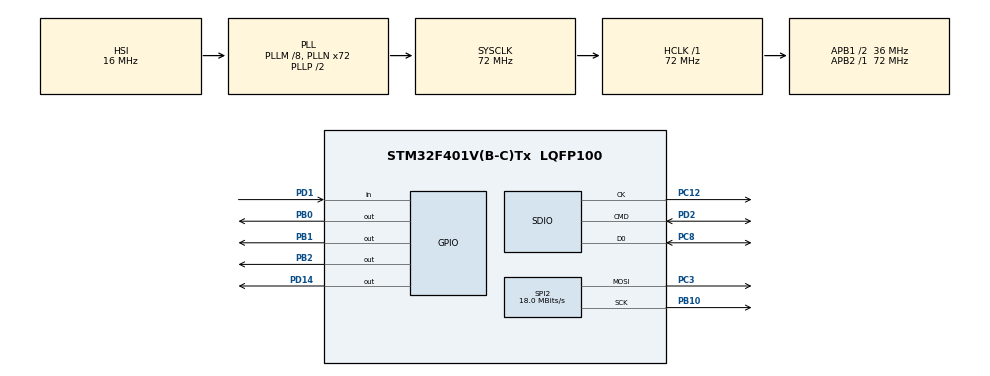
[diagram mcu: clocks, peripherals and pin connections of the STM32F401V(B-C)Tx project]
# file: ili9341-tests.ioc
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FATFS.BSP.number=1
FATFS._USE_MKFS=0
FATFS0.BSP.STBoard=false
FATFS0.BSP.api=Unknown
FATFS0.BSP.instance=PD1
FATFS0.BSP.ip=GPIO
FATFS0.BSP.mode=Input
FATFS0.BSP.name=Detect_SDIO
FATFS0.BSP.solution=PD1
Mcu.Family=STM32F4
Mcu.Name=STM32F401V(B-C)Tx
Mcu.Package=LQFP100
NVIC.PriorityGroup=NVIC_PRIORITYGROUP_4
PB0.Signal=GPIO_Output
PB1.Signal=GPIO_Output
PB10.Mode=TX_Only_Simplex_Unidirect_Master
PB10.Signal=SPI2_SCK
PB2.Signal=GPIO_Output
PC12.GPIO_PuPd=GPIO_NOPULL
PC12.Mode=SD_1_bit
PC12.Signal=SDIO_CK
PC3.Mode=TX_Only_Simplex_Unidirect_Master
PC3.Signal=SPI2_MOSI
PC8.GPIO_PuPd=GPIO_PULLUP
PC8.Mode=SD_1_bit
PC8.Signal=SDIO_D0
PD1.Signal=GPIO_Input
PD14.Signal=GPIO_Output
PD2.GPIO_PuPd=GPIO_PULLUP
PD2.Mode=SD_1_bit
PD2.Signal=SDIO_CMD
ProjectManager.HeapSize=0x200
ProjectManager.StackSize=0x400
ProjectManager.TargetToolchain=Makefile
RCC.48MHZClocksFreq_Value=48000000
RCC.AHBFreq_Value=72000000
RCC.APB1CLKDivider=RCC_HCLK_DIV2
RCC.APB1Freq_Value=36000000
RCC.APB1TimFreq_Value=72000000
RCC.APB2Freq_Value=72000000
RCC.APB2TimFreq_Value=72000000
RCC.CortexFreq_Value=72000000
RCC.HCLKFreq_Value=72000000
RCC.HSE_VALUE=25000000
RCC.HSI_VALUE=16000000
RCC.LSE_VALUE=32768
RCC.PLLM=8
RCC.PLLN=72
RCC.PLLQ=3
RCC.SYSCLKFreq_VALUE=72000000
RCC.SYSCLKSource=RCC_SYSCLKSOURCE_PLLCLK
RCC.VCOOutputFreq_Value=144000000
SPI2.BaudRatePrescaler=SPI_BAUDRATEPRESCALER_2
SPI2.CalculateBaudRate=18.0 MBits/s
SPI2.Direction=SPI_DIRECTION_2LINES
SPI2.Mode=SPI_MODE_MASTER
SPI2.VirtualType=VM_MASTER
VP_FATFS_VS_SDIO.Mode=SDIO
board=custom

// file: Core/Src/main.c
/* USER CODE BEGIN Header */
/**
  ******************************************************************************
  * @file           : main.c
  * @brief          : Main program body
  ******************************************************************************
  * @attention
  *
  * Copyright (c) 2025 STMicroelectronics.
  * All rights reserved.
  *
  * This software is licensed under terms that can be found in the LICENSE file
  * in the root directory of this software component.
  * If no LICENSE file comes with this software, it is provided AS-IS.
  *
  ******************************************************************************
  */
/* USER CODE END Header */
#include "main.h"
#include "fatfs.h"

/* USER CODE BEGIN Includes */
#include "ILI9341_STM32_Driver.h"
#include "ILI9341_GFX.h"
#include "snow_tiger.h"
#include "string.h"
#include <stdio.h>

/* USER CODE END Includes */

SD_HandleTypeDef hsd;
unsigned int sd_error = 0;
SPI_HandleTypeDef hspi2;

void SystemClock_Config(void);
static void MX_GPIO_Init(void);
static void MX_SDIO_SD_Init(void);
static void MX_SPI2_Init(void);

int main(void)
{

  /* MCU Configuration--------------------------------------------------------*/

  /* Reset of all peripherals, Initializes the Flash interface and the Systick. */
  HAL_Init();

  /* Configure the system clock */
  SystemClock_Config();

  /* Initialize all configured peripherals */
  MX_GPIO_Init();
  MX_SDIO_SD_Init();
  MX_SPI2_Init();
  MX_FATFS_Init();
  /* USER CODE BEGIN 2 */
  HAL_GPIO_TogglePin(GPIOD, GPIO_PIN_14);
  //HAL_GPIO_WritePin(GPIOD, GPIO_PIN_14, GPIO_PIN_RESET);
  ILI9341_Init();
  FATFS fs;
  FRESULT res;
  res = f_mount(&fs, SDPath, 1);
  if (res != FR_OK) {
      sd_error = 1;
  }
  DIR dir;
  FILINFO fno;

  ILI9341_Fill_Screen(BLACK);
  /* USER CODE END 2 */

  /* Infinite loop */
  /* USER CODE BEGIN WHILE */
  while (1)
  {
    HAL_GPIO_TogglePin(GPIOD, GPIO_PIN_14);
    char buff[64] = {0};
    ILI9341_Draw_Text("SD INFO: ", 0, 0, WHITE, 2, BLACK);
    if (sd_error == 0) {
        snprintf(buff, 64, "BS:%lu", hsd.SdCard.BlockSize);
        ILI9341_Draw_Text(buff, 0, 15, WHITE, 2, BLACK);
        snprintf(buff, 64, "Bnbr:%lu", hsd.SdCard.BlockNbr);
        ILI9341_Draw_Text(buff, 0, 30, WHITE, 2, BLACK);
        snprintf(buff, 64, "CS:%lu", hsd.SdCard.BlockSize * hsd.SdCard.BlockNbr / 1000);
        ILI9341_Draw_Text(buff, 0, 45, WHITE, 2, BLACK);
        snprintf(buff, 64, "VER:%lu", hsd.SdCard.CardVersion);
        ILI9341_Draw_Text(buff, 0, 60, WHITE, 2, BLACK);
        unsigned int delta = 0;
        f_opendir(&dir, "/");
        do {
            f_readdir(&dir, &fno);
            if (fno.fname[0] != 0) {
                snprintf(buff, 64, "%d: %s", delta+1, fno.fname);
                ILI9341_Draw_Text(buff, 10, 75+(delta*15), WHITE, 2, BLACK);
                delta++;
            }
        } while (fno.fname[0] != 0);
        f_closedir(&dir);
    } else {
        ILI9341_Draw_Text("SD CARD ERROR", 0, 15, WHITE, 2, BLACK);
        snprintf(buff, 64, "ERR:%lu", hsd.ErrorCode);
        ILI9341_Draw_Text(buff, 10, 30, WHITE, 2, BLACK);
    }
    HAL_GPIO_TogglePin(GPIOD, GPIO_PIN_14);
    HAL_Delay(4000);
    //ILI9341_Draw_Image(snow_tiger, 2);
    HAL_GPIO_TogglePin(GPIOD, GPIO_PIN_14);
    HAL_Delay(4000);
    uint32_t tickstart = HAL_GetTick();
    ILI9341_Fill_Screen(BLUE);
    ILI9341_Fill_Screen(GREEN);
    ILI9341_Fill_Screen(PINK);
    ILI9341_Fill_Screen(OLIVE);
    ILI9341_Fill_Screen(NAVY);
    ILI9341_Fill_Screen(PURPLE);
    ILI9341_Fill_Screen(MAROON);
    ILI9341_Fill_Screen(LIGHTGREY);
    ILI9341_Fill_Screen(CYAN);
    ILI9341_Fill_Screen(MAGENTA);
    ILI9341_Fill_Screen(YELLOW);
    ILI9341_Fill_Screen(ORANGE);
    ILI9341_Fill_Screen(GREENYELLOW);
    ILI9341_Fill_Screen(WHITE);
    ILI9341_Fill_Screen(BLUE);
    ILI9341_Fill_Screen(GREEN);
    ILI9341_Fill_Screen(PINK);
    ILI9341_Fill_Screen(OLIVE);
    ILI9341_Fill_Screen(NAVY);
    ILI9341_Fill_Screen(PURPLE);
    ILI9341_Fill_Screen(MAROON);
    ILI9341_Fill_Screen(LIGHTGREY);
    ILI9341_Fill_Screen(CYAN);
    ILI9341_Fill_Screen(MAGENTA);
    ILI9341_Fill_Screen(YELLOW);
    ILI9341_Fill_Screen(ORANGE);
    uint32_t secs = (HAL_GetTick() - tickstart);
    if (secs <= 0) secs = 1;
    uint32_t frate = 25000 / (secs);
    ILI9341_Fill_Screen(BLACK);
    snprintf(buff, 24, "FPS:%lu(%lu)", frate,secs);
    ILI9341_Draw_Text(buff, 150, 0, WHITE, 2, BLACK);
    HAL_GPIO_TogglePin(GPIOD, GPIO_PIN_14);
    /* USER CODE END WHILE */

  }
}

void SystemClock_Config(void)
{
  RCC_OscInitTypeDef RCC_OscInitStruct = {0};
  RCC_ClkInitTypeDef RCC_ClkInitStruct = {0};

  /** Configure the main internal regulator output voltage
  */
  __HAL_RCC_PWR_CLK_ENABLE();
  __HAL_PWR_VOLTAGESCALING_CONFIG(PWR_REGULATOR_VOLTAGE_SCALE2);

  /** Initializes the RCC Oscillators according to the specified parameters
  * in the RCC_OscInitTypeDef structure.
  */
  RCC_OscInitStruct.OscillatorType = RCC_OSCILLATORTYPE_HSI;
  RCC_OscInitStruct.HSIState = RCC_HSI_ON;
  RCC_OscInitStruct.HSICalibrationValue = RCC_HSICALIBRATION_DEFAULT;
  RCC_OscInitStruct.PLL.PLLState = RCC_PLL_ON;
  RCC_OscInitStruct.PLL.PLLSource = RCC_PLLSOURCE_HSI;
  RCC_OscInitStruct.PLL.PLLM = 8;
  RCC_OscInitStruct.PLL.PLLN = 72;
  RCC_OscInitStruct.PLL.PLLP = RCC_PLLP_DIV2;
  RCC_OscInitStruct.PLL.PLLQ = 3;
  if (HAL_RCC_OscConfig(&RCC_OscInitStruct) != HAL_OK)
  {
    Error_Handler();
  }

  /** Initializes the CPU, AHB and APB buses clocks
  */
  RCC_ClkInitStruct.ClockType = RCC_CLOCKTYPE_HCLK|RCC_CLOCKTYPE_SYSCLK
                              |RCC_CLOCKTYPE_PCLK1|RCC_CLOCKTYPE_PCLK2;
  RCC_ClkInitStruct.SYSCLKSource = RCC_SYSCLKSOURCE_PLLCLK;
  RCC_ClkInitStruct.AHBCLKDivider = RCC_SYSCLK_DIV1;
  RCC_ClkInitStruct.APB1CLKDivider = RCC_HCLK_DIV2;
  RCC_ClkInitStruct.APB2CLKDivider = RCC_HCLK_DIV1;

  if (HAL_RCC_ClockConfig(&RCC_ClkInitStruct, FLASH_LATENCY_2) != HAL_OK)
  {
    Error_Handler();
  }
}

static void MX_SDIO_SD_Init(void)
{

  hsd.Instance = SDIO;
  hsd.Init.ClockEdge = SDIO_CLOCK_EDGE_RISING;
  hsd.Init.ClockBypass = SDIO_CLOCK_BYPASS_DISABLE;
  hsd.Init.ClockPowerSave = SDIO_CLOCK_POWER_SAVE_DISABLE;
  hsd.Init.BusWide = SDIO_BUS_WIDE_1B;
  hsd.Init.HardwareFlowControl = SDIO_HARDWARE_FLOW_CONTROL_DISABLE;
  hsd.Init.ClockDiv = 0;

}

static void MX_SPI2_Init(void)
{

  /* SPI2 parameter configuration*/
  hspi2.Instance = SPI2;
  hspi2.Init.Mode = SPI_MODE_MASTER;
  hspi2.Init.Direction = SPI_DIRECTION_2LINES;
  hspi2.Init.DataSize = SPI_DATASIZE_8BIT;
  hspi2.Init.CLKPolarity = SPI_POLARITY_LOW;
  hspi2.Init.CLKPhase = SPI_PHASE_1EDGE;
  hspi2.Init.NSS = SPI_NSS_SOFT;
  hspi2.Init.BaudRatePrescaler = SPI_BAUDRATEPRESCALER_2;
  hspi2.Init.FirstBit = SPI_FIRSTBIT_MSB;
  hspi2.Init.TIMode = SPI_TIMODE_DISABLE;
  hspi2.Init.CRCCalculation = SPI_CRCCALCULATION_DISABLE;
  hspi2.Init.CRCPolynomial = 10;
  if (HAL_SPI_Init(&hspi2) != HAL_OK)
  {
    Error_Handler();
  }

}

static void MX_GPIO_Init(void)
{
  GPIO_InitTypeDef GPIO_InitStruct = {0};

  /* GPIO Ports Clock Enable */
  __HAL_RCC_GPIOC_CLK_ENABLE();
  __HAL_RCC_GPIOB_CLK_ENABLE();
  __HAL_RCC_GPIOD_CLK_ENABLE();

  /*Configure GPIO pin Output Level */
  HAL_GPIO_WritePin(GPIOB, GPIO_PIN_0|GPIO_PIN_1|GPIO_PIN_2, GPIO_PIN_RESET);

  /*Configure GPIO pin Output Level */
  HAL_GPIO_WritePin(GPIOD, GPIO_PIN_14, GPIO_PIN_RESET);

  /*Configure GPIO pins : PB0 PB1 PB2 */
  GPIO_InitStruct.Pin = GPIO_PIN_0|GPIO_PIN_1|GPIO_PIN_2;
  GPIO_InitStruct.Mode = GPIO_MODE_OUTPUT_PP;
  GPIO_InitStruct.Pull = GPIO_NOPULL;
  GPIO_InitStruct.Speed = GPIO_SPEED_FREQ_LOW;
  HAL_GPIO_Init(GPIOB, &GPIO_InitStruct);

  /*Configure GPIO pin : PD14 */
  GPIO_InitStruct.Pin = GPIO_PIN_14;
  GPIO_InitStruct.Mode = GPIO_MODE_OUTPUT_PP;
  GPIO_InitStruct.Pull = GPIO_NOPULL;
  GPIO_InitStruct.Speed = GPIO_SPEED_FREQ_LOW;
  HAL_GPIO_Init(GPIOD, &GPIO_InitStruct);

  /*Configure GPIO pin : PD1 */
  GPIO_InitStruct.Pin = GPIO_PIN_1;
  GPIO_InitStruct.Mode = GPIO_MODE_INPUT;
  GPIO_InitStruct.Pull = GPIO_NOPULL;
  HAL_GPIO_Init(GPIOD, &GPIO_InitStruct);

}

void Error_Handler(void)
{
  /* USER CODE BEGIN Error_Handler_Debug */
  /* User can add his own implementation to report the HAL error return state */
  __disable_irq();
  while (1)
  {
    HAL_GPIO_TogglePin(GPIOD, GPIO_PIN_14);
    HAL_Delay(300);
  }
  /* USER CODE END Error_Handler_Debug */
}
